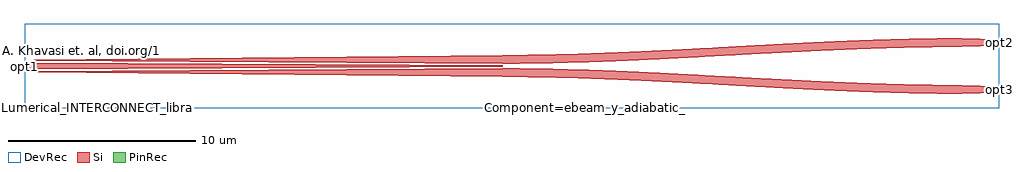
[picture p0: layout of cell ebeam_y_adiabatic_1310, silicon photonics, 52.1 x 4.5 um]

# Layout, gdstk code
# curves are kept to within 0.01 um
import gdstk
lib = gdstk.Library(unit=1e-6, precision=1e-09)
def R(c, l, rs):  # rectangles x0, y0, x1, y1
    for r in rs: c.add(gdstk.rectangle(r[:2], r[2:], *l))
def P(c, l, *ps):  # polygons
    for p in ps: c.add(gdstk.Polygon(p, *l))
Si = (1, 0)
PinRec = (1, 10)
DevRec = (68, 0)

ebeam_y_adiabatic_1310 = lib.new_cell('ebeam_y_adiabatic_1310')
P(ebeam_y_adiabatic_1310, Si, [(0.05,-0.175),(0.05,0.175),(0.55,0.175),(25.55,0.03),(25.55,-0.03),(0.55,-0.175)],
  [(25.891,0.131),(28.485,0.165),(31.146,0.249),(31.146,0.699),(28.894,0.625),(26.949,0.588),(0.55,0.335),(0.55,0.275)],
  [(31.214,0.251),(34.865,0.42),(34.865,0.87),(31.146,0.699),(31.146,0.249)],
  [(34.9,0.422),(40.735,0.735),(40.735,1.185),(34.865,0.87),(34.865,0.42)],
  [(40.837,0.741),(44.386,0.904),(44.386,1.354),(40.735,1.185),(40.735,0.735)],
  [(44.454,0.906),(47.388,0.996),(50.05,1.025),(50.05,1.475),(47.388,1.446),(44.386,1.354),(44.386,0.904)],
  [(31.146,-0.249),(28.212,-0.159),(25.55,-0.13),(0.55,-0.275),(0.55,-0.335),(26.949,-0.588),(28.894,-0.625),(31.146,-0.699)],
  [(34.865,-0.42),(31.146,-0.249),(31.146,-0.699),(34.865,-0.87)],
  [(40.735,-0.735),(34.865,-0.42),(34.865,-0.87),(39.267,-1.108),(40.735,-1.185)],
  [(44.386,-0.904),(40.735,-0.735),(40.735,-1.185),(44.386,-1.354)],
  [(50.05,-1.025),(47.388,-0.996),(44.386,-0.904),(44.386,-1.354),(47.388,-1.446),(50.05,-1.475)],
  [(50.05,1.025),(50.05,1.475),(52.05,1.425),(52.05,1.075)],
  [(50.05,-1.475),(50.05,-1.025),(52.05,-1.075),(52.05,-1.425)])
R(ebeam_y_adiabatic_1310, DevRec, [(0.05,-2.25,52.05,2.25)])
ebeam_y_adiabatic_1310.add(gdstk.FlexPath([(52,1.25),(52.1,1.25)], 0.35, ends="flush", simple_path=True, layer=1, datatype=10))  # PinRec
ebeam_y_adiabatic_1310.add(gdstk.FlexPath([(52,-1.25),(52.1,-1.25)], 0.35, ends="flush", simple_path=True, layer=1, datatype=10))  # PinRec
ebeam_y_adiabatic_1310.add(gdstk.FlexPath([(0.1,0),(0,0)], 0.35, ends="flush", simple_path=True, layer=1, datatype=10))  # PinRec
ebeam_y_adiabatic_1310.add(gdstk.Label('Lumerical_INTERCONNECT_library=Design kits/ebeam_beta', (0.59,-2.19), layer=68, texttype=0))
ebeam_y_adiabatic_1310.add(gdstk.Label('Component=ebeam_y_adiabatic_1310', (30,-2.19), layer=68, texttype=0))
ebeam_y_adiabatic_1310.add(gdstk.Label('A. Khavasi et. al, doi.org/10.1109/JSTQE.2019.2917501 ', (0.59,0.81), layer=68, texttype=0))
ebeam_y_adiabatic_1310.add(gdstk.Label('opt3', (52.05,-1.25), layer=1, texttype=10))
ebeam_y_adiabatic_1310.add(gdstk.Label('opt2', (52.05,1.25), layer=1, texttype=10))
ebeam_y_adiabatic_1310.add(gdstk.Label('opt1', (0.05,0), layer=1, texttype=10))
ebeam_y_adiabatic_1310.add(gdstk.Label('Lumerical_INTERCONNECT_library=Design kits/ebeam_beta', (0.59,-2.19), layer=68, texttype=0))
ebeam_y_adiabatic_1310.add(gdstk.Label('Component=ebeam_y_adiabatic_1310', (30,-2.19), layer=68, texttype=0))
ebeam_y_adiabatic_1310.add(gdstk.Label('A. Khavasi et. al, doi.org/10.1109/JSTQE.2019.2917501 ', (0.59,0.81), layer=68, texttype=0))
ebeam_y_adiabatic_1310.add(gdstk.Label('opt3', (52.05,-1.25), layer=1, texttype=10))
ebeam_y_adiabatic_1310.add(gdstk.Label('opt2', (52.05,1.25), layer=1, texttype=10))
ebeam_y_adiabatic_1310.add(gdstk.Label('opt1', (0.05,0), layer=1, texttype=10))

lib.write_gds('ebeam_y_adiabatic_1310.gds')
